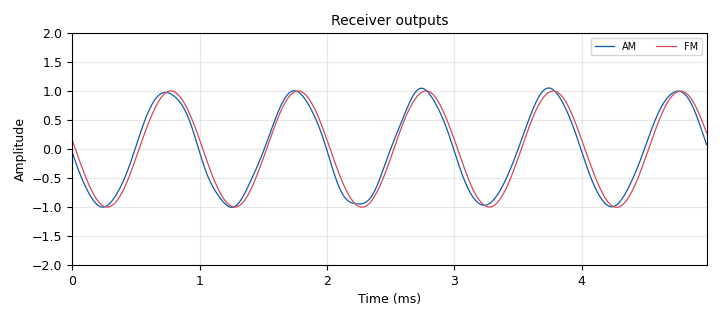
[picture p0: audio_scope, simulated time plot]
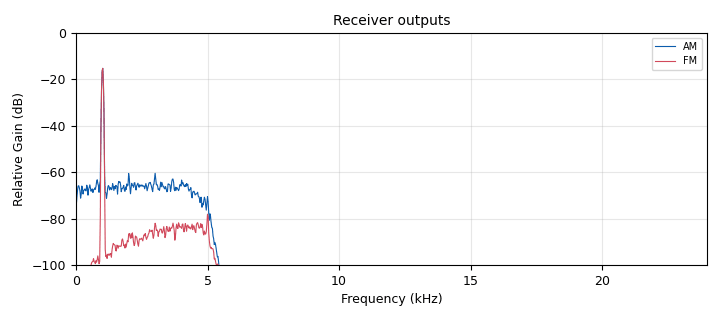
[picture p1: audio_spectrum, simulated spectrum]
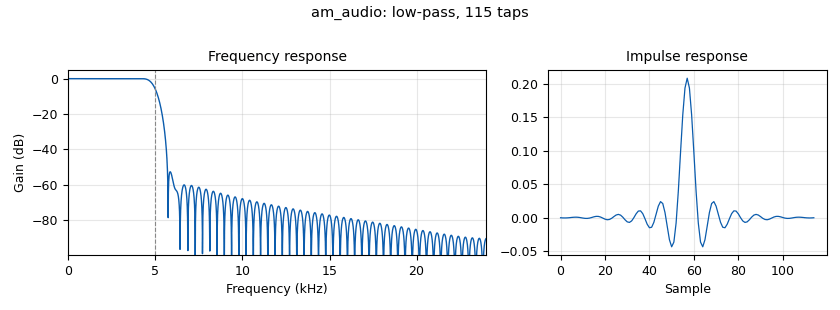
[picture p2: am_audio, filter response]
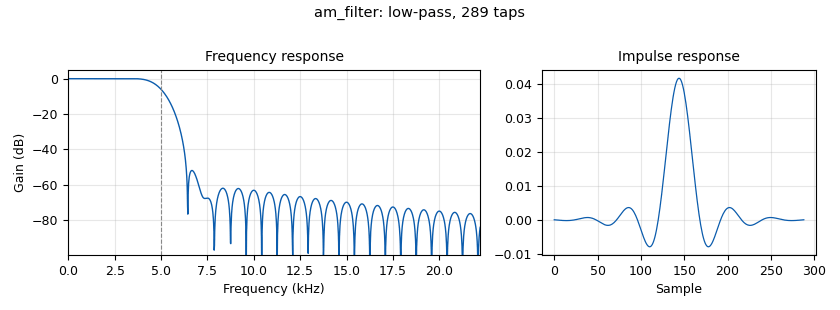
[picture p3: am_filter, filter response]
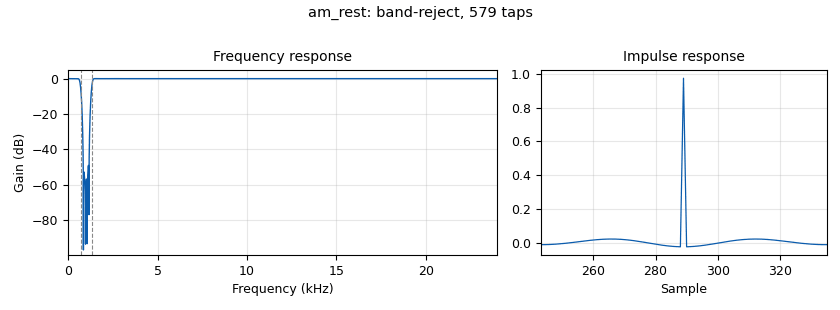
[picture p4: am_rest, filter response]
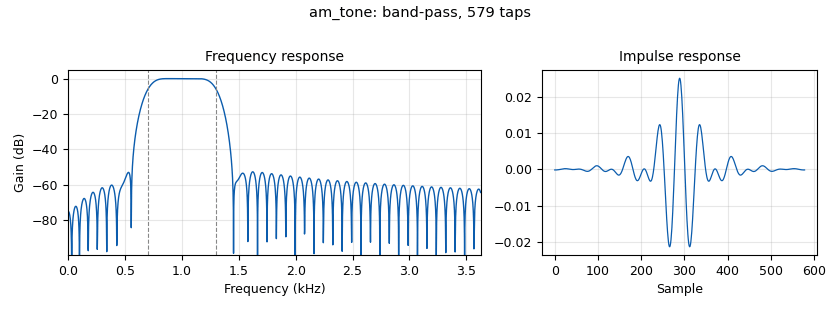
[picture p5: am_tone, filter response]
options:
  parameters:
    author: ECE 448
    description: 'L7: a 1 kHz tone sent as AM (m = 1) and as FM at the same carrier power, through the same noise. Each receiver measures its output SNR. Drag the input SNR and the FM deviation. Simulated; no hardware.'
    generate_options: qt_gui
    id: L07_am_vs_fm
    output_language: python
    title: L7 - AM and FM in the Same Noise
  states: {}

blocks:
- name: am_audio_taps
  id: variable_low_pass_filter_taps
  parameters:
    cutoff_freq: 5e3
    gain: '1.0'
    samp_rate: 48e3
    width: 1e3
    win: window.WIN_HAMMING
  states: {}
- name: am_taps
  id: variable_low_pass_filter_taps
  parameters:
    cutoff_freq: 5e3
    gain: '1.0'
    samp_rate: samp_rate
    width: 2e3
    win: window.WIN_HAMMING
  states: {}
- name: audio_taps
  id: variable_low_pass_filter_taps
  parameters:
    cutoff_freq: 5e3
    gain: '1.0'
    samp_rate: samp_rate
    width: 1e3
    win: window.WIN_HAMMING
  states: {}
- name: cn_db
  id: variable_qtgui_range
  parameters:
    gui_hint: 0,0,1,1
    label: Input SNR in 10 kHz (dB)
    start: '0'
    step: '1'
    stop: '50'
    value: '30'
  states: {}
- name: dev
  id: variable_qtgui_range
  parameters:
    gui_hint: 0,1,1,1
    label: FM deviation (Hz)
    start: 5e3
    step: 5e3
    stop: 50e3
    value: 25e3
  states: {}
- name: fm_taps
  id: variable_low_pass_filter_taps
  parameters:
    cutoff_freq: dev + 5e3
    gain: '1.0'
    samp_rate: samp_rate
    width: 5e3
    win: window.WIN_HAMMING
  states: {}
- name: listen
  id: variable_qtgui_chooser
  parameters:
    gui_hint: 0,2,1,1
    label: Listen to
    label0: AM
    label1: FM
    num_opts: '2'
    option0: '0'
    option1: '1'
    orient: Qt.QHBoxLayout
    type: int
    value: '1'
    widget: radio_buttons
  states: {}
- name: noise_taps
  id: variable_band_reject_filter_taps
  parameters:
    gain: '1.0'
    high_cutoff_freq: '1300'
    low_cutoff_freq: '700'
    samp_rate: 48e3
    type: band_reject
    width: '200'
    win: window.WIN_HAMMING
  states: {}
- name: samp_rate
  id: variable
  parameters:
    value: 240e3
  states: {}
- name: tone_taps
  id: variable_band_pass_filter_taps
  parameters:
    gain: '1.0'
    high_cutoff_freq: '1300'
    low_cutoff_freq: '700'
    samp_rate: 48e3
    type: band_pass
    width: '200'
    win: window.WIN_HAMMING
  states: {}
- name: vol
  id: variable
  parameters:
    value: '0.2'
  states: {}
- name: am_audio
  id: fir_filter_xxx
  parameters:
    decim: '1'
    taps: am_audio_taps
    type: fff
  states: {}
- name: am_channel
  id: blocks_add_xx
  parameters:
    type: complex
  states: {}
- name: am_dc_block
  id: dc_blocker_xx
  parameters:
    length: '1024'
    long_form: 'True'
    type: ff
  states: {}
- name: am_envelope
  id: blocks_complex_to_mag
  parameters: {}
  states: {}
- name: am_filter
  id: fir_filter_xxx
  parameters:
    decim: '5'
    taps: am_taps
    type: ccc
  states: {}
- name: am_plus_1
  id: blocks_add_const_vxx
  parameters:
    const: '1'
    type: float
  states: {}
- name: am_power
  id: blocks_multiply_const_vxx
  parameters:
    const: 1 / math.sqrt(1.5)
    type: float
  states: {}
- name: am_rest
  id: fir_filter_xxx
  parameters:
    decim: '1'
    taps: noise_taps
    type: fff
  states: {}
- name: am_rest_db
  id: blocks_nlog10_ff
  parameters:
    k: '0'
    n: '20'
  states: {}
- name: am_rest_rms
  id: blocks_rms_xx
  parameters:
    alpha: '1e-4'
    type: float
  states: {}
- name: am_scale
  id: blocks_multiply_const_vxx
  parameters:
    const: math.sqrt(1.5)
    type: float
  states: {}
- name: am_snr
  id: blocks_sub_xx
  parameters:
    type: float
  states: {}
- name: am_to_complex
  id: blocks_float_to_complex
  parameters: {}
  states: {}
- name: am_tone
  id: fir_filter_xxx
  parameters:
    decim: '1'
    taps: tone_taps
    type: fff
  states: {}
- name: am_tone_db
  id: blocks_nlog10_ff
  parameters:
    k: '0'
    n: '20'
  states: {}
- name: am_tone_rms
  id: blocks_rms_xx
  parameters:
    alpha: '1e-4'
    type: float
  states: {}
- name: audio_scope
  id: qtgui_time_sink_x
  parameters:
    grid: 'True'
    gui_hint: 2,2,1,1
    label1: '''AM'''
    label2: '''FM'''
    name: '"Receiver outputs"'
    nconnections: '2'
    size: '240'
    srate: 48e3
    type: float
    ymax: '2'
    ymin: '-2'
  states: {}
- name: audio_sink
  id: audio_sink
  parameters:
    samp_rate: '48000'
  states: {}
- name: audio_spectrum
  id: qtgui_freq_sink_x
  parameters:
    average: '0.05'
    bw: 48e3
    fc: '0'
    fftsize: '2048'
    freqhalf: 'False'
    grid: 'True'
    gui_hint: 2,0,1,2
    label1: '''AM'''
    label2: '''FM'''
    name: '"Receiver outputs"'
    nconnections: '2'
    type: float
    ymax: '0'
    ymin: '-100'
  states: {}
- name: fm_audio
  id: fir_filter_xxx
  parameters:
    decim: '5'
    taps: audio_taps
    type: fff
  states: {}
- name: fm_channel
  id: blocks_add_xx
  parameters:
    type: complex
  states: {}
- name: fm_demod
  id: analog_quadrature_demod_cf
  parameters:
    gain: samp_rate / (2 * math.pi * dev)
  states: {}
- name: fm_filter
  id: fir_filter_xxx
  parameters:
    decim: '1'
    taps: fm_taps
    type: ccc
  states: {}
- name: fm_mod
  id: analog_frequency_modulator_fc
  parameters:
    sensitivity: 2 * math.pi * dev / samp_rate
  states: {}
- name: fm_rest
  id: fir_filter_xxx
  parameters:
    decim: '1'
    taps: noise_taps
    type: fff
  states: {}
- name: fm_rest_db
  id: blocks_nlog10_ff
  parameters:
    k: '0'
    n: '20'
  states: {}
- name: fm_rest_rms
  id: blocks_rms_xx
  parameters:
    alpha: '1e-4'
    type: float
  states: {}
- name: fm_snr
  id: blocks_sub_xx
  parameters:
    type: float
  states: {}
- name: fm_tone
  id: fir_filter_xxx
  parameters:
    decim: '1'
    taps: tone_taps
    type: fff
  states: {}
- name: fm_tone_db
  id: blocks_nlog10_ff
  parameters:
    k: '0'
    n: '20'
  states: {}
- name: fm_tone_rms
  id: blocks_rms_xx
  parameters:
    alpha: '1e-4'
    type: float
  states: {}
- name: import_math
  id: import
  parameters:
    imports: import math
  states: {}
- name: noise
  id: analog_noise_source_x
  parameters:
    amp: math.sqrt(samp_rate / 10e3 * 10**(-cn_db / 10))
    noise_type: analog.GR_GAUSSIAN
    seed: '448'
    type: complex
  states: {}
- name: pick
  id: blocks_selector
  parameters:
    enabled: 'True'
    input_index: listen
    num_inputs: '2'
    num_outputs: '1'
    output_index: '0'
    type: float
  states: {}
- name: snr_meter
  id: qtgui_number_sink
  parameters:
    graph_type: qtgui.NUM_GRAPH_HORIZ
    gui_hint: 1,0,1,3
    label1: '"AM"'
    label2: '"FM"'
    max: '60'
    min: '0'
    name: '"Output SNR (dB)"'
    nconnections: '2'
    type: float
    update_time: '0.25'
  states: {}
- name: tone
  id: analog_sig_source_x
  parameters:
    amp: '1'
    freq: '1000'
    offset: '0'
    phase: '0'
    samp_rate: samp_rate
    type: float
    waveform: analog.GR_COS_WAVE
  states: {}
- name: volume
  id: blocks_multiply_const_vxx
  parameters:
    const: vol
    type: float
  states: {}

connections:
- [am_audio, '0', am_rest, '0']
- [am_audio, '0', am_tone, '0']
- [am_audio, '0', audio_scope, '0']
- [am_audio, '0', audio_spectrum, '0']
- [am_audio, '0', pick, '0']
- [am_channel, '0', am_filter, '0']
- [am_dc_block, '0', am_scale, '0']
- [am_envelope, '0', am_dc_block, '0']
- [am_filter, '0', am_envelope, '0']
- [am_plus_1, '0', am_power, '0']
- [am_power, '0', am_to_complex, '0']
- [am_rest, '0', am_rest_rms, '0']
- [am_rest_db, '0', am_snr, '1']
- [am_rest_rms, '0', am_rest_db, '0']
- [am_scale, '0', am_audio, '0']
- [am_snr, '0', snr_meter, '0']
- [am_to_complex, '0', am_channel, '0']
- [am_tone, '0', am_tone_rms, '0']
- [am_tone_db, '0', am_snr, '0']
- [am_tone_rms, '0', am_tone_db, '0']
- [fm_audio, '0', audio_scope, '1']
- [fm_audio, '0', audio_spectrum, '1']
- [fm_audio, '0', fm_rest, '0']
- [fm_audio, '0', fm_tone, '0']
- [fm_audio, '0', pick, '1']
- [fm_channel, '0', fm_filter, '0']
- [fm_demod, '0', fm_audio, '0']
- [fm_filter, '0', fm_demod, '0']
- [fm_mod, '0', fm_channel, '0']
- [fm_rest, '0', fm_rest_rms, '0']
- [fm_rest_db, '0', fm_snr, '1']
- [fm_rest_rms, '0', fm_rest_db, '0']
- [fm_snr, '0', snr_meter, '1']
- [fm_tone, '0', fm_tone_rms, '0']
- [fm_tone_db, '0', fm_snr, '0']
- [fm_tone_rms, '0', fm_tone_db, '0']
- [noise, '0', am_channel, '1']
- [noise, '0', fm_channel, '1']
- [pick, '0', volume, '0']
- [tone, '0', am_plus_1, '0']
- [tone, '0', fm_mod, '0']
- [volume, '0', audio_sink, '0']

metadata:
  file_format: 1
  grc_version: 3.10.9.2
